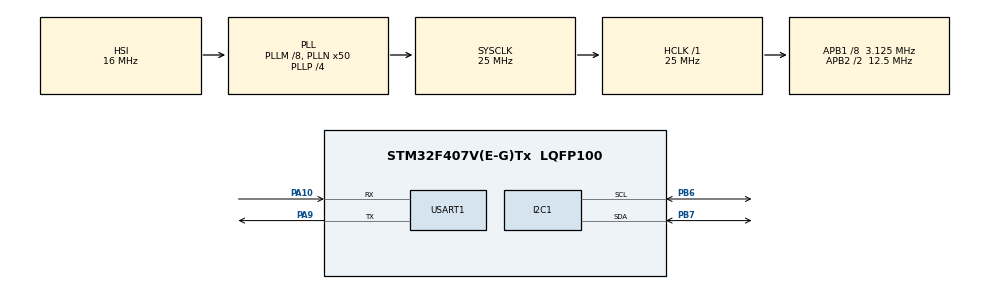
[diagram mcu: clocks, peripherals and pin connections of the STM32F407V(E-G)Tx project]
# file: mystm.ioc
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Mcu.Family=STM32F4
Mcu.Name=STM32F407V(E-G)Tx
Mcu.Package=LQFP100
NVIC.PriorityGroup=NVIC_PRIORITYGROUP_0
PA10.Mode=Asynchronous
PA10.Signal=USART1_RX
PA9.Mode=Asynchronous
PA9.Signal=USART1_TX
PB6.Mode=I2C
PB6.Signal=I2C1_SCL
PB7.Mode=I2C
PB7.Signal=I2C1_SDA
ProjectManager.HeapSize=0x200
ProjectManager.StackSize=0x400
ProjectManager.TargetToolchain=Makefile
RCC.48MHZClocksFreq_Value=14285714.285714285
RCC.AHBFreq_Value=25000000
RCC.APB1CLKDivider=RCC_HCLK_DIV8
RCC.APB1Freq_Value=3125000
RCC.APB1TimFreq_Value=6250000
RCC.APB2CLKDivider=RCC_HCLK_DIV2
RCC.APB2Freq_Value=12500000
RCC.APB2TimFreq_Value=25000000
RCC.CortexFreq_Value=25000000
RCC.HCLKFreq_Value=25000000
RCC.HSE_VALUE=8000000
RCC.HSI_VALUE=16000000
RCC.LSE_VALUE=32768
RCC.PLLM=8
RCC.PLLN=50
RCC.PLLP=RCC_PLLP_DIV4
RCC.PLLQ=7
RCC.SYSCLKFreq_VALUE=25000000
RCC.SYSCLKSource=RCC_SYSCLKSOURCE_PLLCLK
RCC.VCOOutputFreq_Value=100000000
USART1.VirtualMode=VM_ASYNC
board=STM32F407G-DISC1

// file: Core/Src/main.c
/* USER CODE BEGIN Header */
/**
  ******************************************************************************
  * @file           : main.c
  * @brief          : Main program body
  ******************************************************************************
  * @attention
  *
  * Copyright (c) 2026 STMicroelectronics.
  * All rights reserved.
  *
  * This software is licensed under terms that can be found in the LICENSE file
  * in the root directory of this software component.
  * If no LICENSE file comes with this software, it is provided AS-IS.
  *
  ******************************************************************************
  */
/* USER CODE END Header */
#include "main.h"
#include <stdio.h>

/* USER CODE BEGIN PD */
#define DISTANCE_SENSOR_ADDR 0x29
#define DISTANCE_THRESHOLD 9
/* USER CODE END PD */

I2C_HandleTypeDef hi2c1;

UART_HandleTypeDef huart1;

/* USER CODE BEGIN PV */
uint8_t distance_value = 0;
/* USER CODE END PV */

void SystemClock_Config(void);
static void MX_GPIO_Init(void);
static void MX_I2C1_Init(void);
static void MX_USART1_UART_Init(void);
/* USER CODE BEGIN PFP */
uint8_t Read_Distance_Sensor(void);
/* USER CODE END PFP */

/* USER CODE BEGIN 0 */
uint8_t Read_Distance_Sensor(void)
{
  uint8_t sensor_data = 0;
  HAL_I2C_Master_Receive(&hi2c1, (DISTANCE_SENSOR_ADDR << 1), &sensor_data, 1, HAL_MAX_DELAY);
  return sensor_data;
}

int _write(int file, char *ptr, int len)
{
  HAL_UART_Transmit(&huart1, (uint8_t *)ptr, len, HAL_MAX_DELAY);
  return len;
}
/* USER CODE END 0 */

int main(void)
{

  /* MCU Configuration--------------------------------------------------------*/

  /* Reset of all peripherals, Initializes the Flash interface and the Systick. */
  HAL_Init();

  /* Configure the system clock */
  SystemClock_Config();

  /* Initialize all configured peripherals */
  MX_GPIO_Init();
  MX_I2C1_Init();
  MX_USART1_UART_Init();

  /* Infinite loop */
  while (1)
  {

    /* USER CODE BEGIN 3 */
    distance_value = Read_Distance_Sensor();

    if (distance_value < DISTANCE_THRESHOLD)
    {
      printf("Distance is less than 9: %d cm\r\n", distance_value);
    }

    HAL_Delay(100);
    /* USER CODE END 3 */
  }
  /* USER CODE END 3 */
}

void SystemClock_Config(void)
{
  RCC_OscInitTypeDef RCC_OscInitStruct = {0};
  RCC_ClkInitTypeDef RCC_ClkInitStruct = {0};

  /** Configure the main internal regulator output voltage
  */
  __HAL_RCC_PWR_CLK_ENABLE();
  __HAL_PWR_VOLTAGESCALING_CONFIG(PWR_REGULATOR_VOLTAGE_SCALE1);

  /** Initializes the RCC Oscillators according to the specified parameters
  * in the RCC_OscInitTypeDef structure.
  */
  RCC_OscInitStruct.OscillatorType = RCC_OSCILLATORTYPE_HSI;
  RCC_OscInitStruct.HSIState = RCC_HSI_ON;
  RCC_OscInitStruct.HSICalibrationValue = RCC_HSICALIBRATION_DEFAULT;
  RCC_OscInitStruct.PLL.PLLState = RCC_PLL_ON;
  RCC_OscInitStruct.PLL.PLLSource = RCC_PLLSOURCE_HSI;
  RCC_OscInitStruct.PLL.PLLM = 8;
  RCC_OscInitStruct.PLL.PLLN = 50;
  RCC_OscInitStruct.PLL.PLLP = RCC_PLLP_DIV4;
  RCC_OscInitStruct.PLL.PLLQ = 7;
  if (HAL_RCC_OscConfig(&RCC_OscInitStruct) != HAL_OK)
  {
    Error_Handler();
  }

  /** Initializes the CPU, AHB and APB buses clocks
  */
  RCC_ClkInitStruct.ClockType = RCC_CLOCKTYPE_HCLK|RCC_CLOCKTYPE_SYSCLK
                              |RCC_CLOCKTYPE_PCLK1|RCC_CLOCKTYPE_PCLK2;
  RCC_ClkInitStruct.SYSCLKSource = RCC_SYSCLKSOURCE_PLLCLK;
  RCC_ClkInitStruct.AHBCLKDivider = RCC_SYSCLK_DIV1;
  RCC_ClkInitStruct.APB1CLKDivider = RCC_HCLK_DIV8;
  RCC_ClkInitStruct.APB2CLKDivider = RCC_HCLK_DIV2;

  if (HAL_RCC_ClockConfig(&RCC_ClkInitStruct, FLASH_LATENCY_0) != HAL_OK)
  {
    Error_Handler();
  }
}

static void MX_I2C1_Init(void)
{

  hi2c1.Instance = I2C1;
  hi2c1.Init.ClockSpeed = 100000;
  hi2c1.Init.DutyCycle = I2C_DUTYCYCLE_2;
  hi2c1.Init.OwnAddress1 = 0;
  hi2c1.Init.AddressingMode = I2C_ADDRESSINGMODE_7BIT;
  hi2c1.Init.DualAddressMode = I2C_DUALADDRESS_DISABLE;
  hi2c1.Init.OwnAddress2 = 0;
  hi2c1.Init.GeneralCallMode = I2C_GENERALCALL_DISABLE;
  hi2c1.Init.NoStretchMode = I2C_NOSTRETCH_DISABLE;
  if (HAL_I2C_Init(&hi2c1) != HAL_OK)
  {
    Error_Handler();
  }

}

static void MX_USART1_UART_Init(void)
{

  huart1.Instance = USART1;
  huart1.Init.BaudRate = 115200;
  huart1.Init.WordLength = UART_WORDLENGTH_8B;
  huart1.Init.StopBits = UART_STOPBITS_1;
  huart1.Init.Parity = UART_PARITY_NONE;
  huart1.Init.Mode = UART_MODE_TX_RX;
  huart1.Init.HwFlowCtl = UART_HWCONTROL_NONE;
  huart1.Init.OverSampling = UART_OVERSAMPLING_16;
  if (HAL_UART_Init(&huart1) != HAL_OK)
  {
    Error_Handler();
  }

}

static void MX_GPIO_Init(void)
{

  /* GPIO Ports Clock Enable */
  __HAL_RCC_GPIOA_CLK_ENABLE();
  __HAL_RCC_GPIOB_CLK_ENABLE();

}

void Error_Handler(void)
{
  __disable_irq();
  while (1)
  {
  }
}
